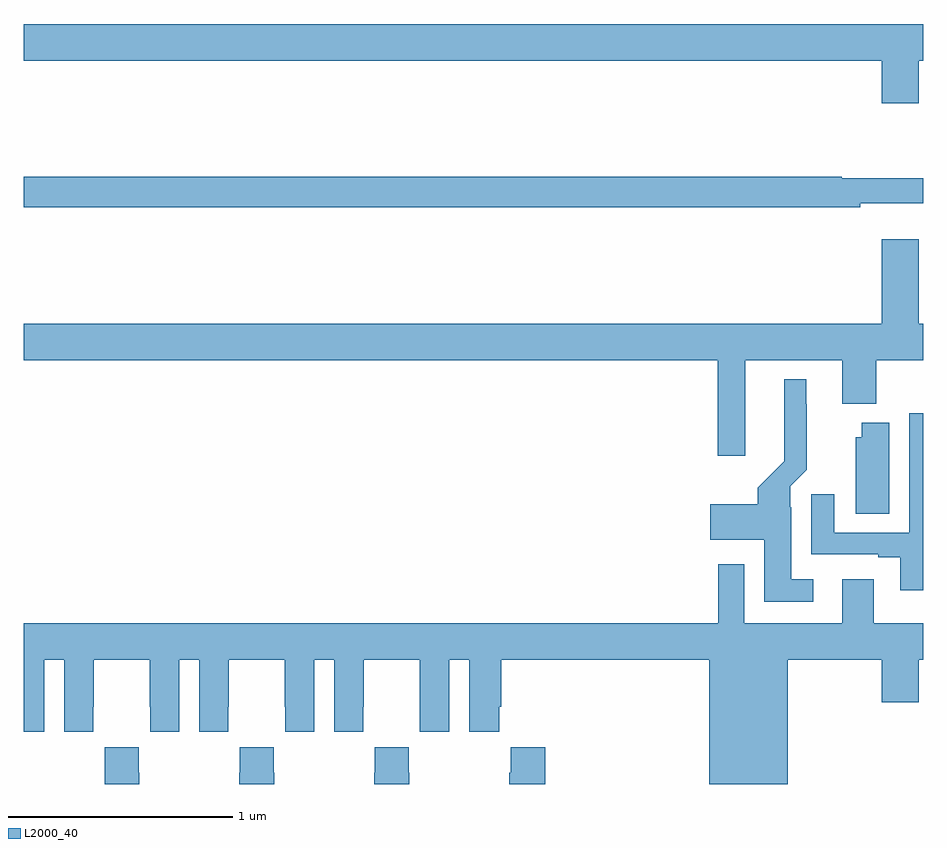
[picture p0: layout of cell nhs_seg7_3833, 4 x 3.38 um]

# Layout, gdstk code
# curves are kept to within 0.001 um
import gdstk
lib = gdstk.Library(unit=1e-6, precision=1e-09)
def P(c, l, *ps):  # polygons
    for p in ps: c.add(gdstk.Polygon(p, *l))
L2000_40 = (2000, 40)

nhs_seg7_3833 = lib.new_cell('nhs_seg7_3833')
P(nhs_seg7_3833, L2000_40, [(356.98,1067.216),(357,1067.216),(357,1067.38),(353,1067.38),(353,1067.216),(356.816,1067.216),(356.816,1067.028),(356.98,1067.028)],
  [(356.72,1066.583),(357,1066.583),(357,1066.693),(356.638,1066.693),(356.638,1066.7),(353,1066.7),(353,1066.564),(356.72,1066.564)],
  [(353,1065.884),(356.087,1065.884),(356.087,1065.459),(356.209,1065.459),(356.209,1065.884),(356.639,1065.884),(356.639,1065.692),(356.792,1065.692),(356.792,1065.884),(357,1065.884),(357,1066.048),(356.98,1066.048),(356.98,1066.423),(356.816,1066.423),(356.816,1066.048),(353,1066.048)],
  [(356.512,1064.911),(356.413,1064.911),(356.413,1065.23),(356.409,1065.23),(356.409,1065.324),(356.483,1065.398),(356.483,1065.689),(356.479,1065.689),(356.479,1065.799),(356.381,1065.799),(356.382,1065.436),(356.264,1065.318),(356.264,1065.244),(356.052,1065.244),(356.052,1065.086),(356.294,1065.086),(356.294,1064.81),(356.512,1064.81)],
  [(357,1065.649),(356.939,1065.649),(356.939,1065.117),(356.605,1065.117),(356.605,1065.289),(356.501,1065.289),(356.501,1065.021),(356.801,1065.021),(356.801,1065.009),(356.897,1065.009),(356.897,1064.862),(357,1064.862)],
  [(356.848,1065.607),(356.726,1065.607),(356.726,1065.543),(356.699,1065.543),(356.699,1065.202),(356.848,1065.202)],
  [(356.398,1064.552),(356.816,1064.552),(356.816,1064.364),(356.98,1064.364),(356.98,1064.552),(357,1064.552),(357,1064.716),(356.779,1064.716),(356.779,1064.911),(356.639,1064.911),(356.639,1064.716),(356.205,1064.716),(356.205,1064.977),(356.089,1064.977),(356.089,1064.716),(353,1064.716),(353,1064.232),(353.092,1064.232),(353.092,1064.552),(353.18,1064.552),(353.18,1064.232),(353.31,1064.232),(353.31,1064.344),(353.311,1064.344),(353.311,1064.552),(353.561,1064.552),(353.561,1064.344),(353.562,1064.344),(353.562,1064.232),(353.692,1064.232),(353.692,1064.552),(353.78,1064.552),(353.78,1064.232),(353.91,1064.232),(353.91,1064.344),(353.911,1064.344),(353.911,1064.552),(354.161,1064.552),(354.161,1064.344),(354.162,1064.344),(354.162,1064.232),(354.292,1064.232),(354.292,1064.552),(354.38,1064.552),(354.38,1064.232),(354.51,1064.232),(354.51,1064.344),(354.511,1064.344),(354.511,1064.552),(354.761,1064.552),(354.761,1064.344),(354.762,1064.344),(354.762,1064.232),(354.892,1064.232),(354.892,1064.552),(354.98,1064.552),(354.98,1064.232),(355.114,1064.232),(355.114,1064.344),(355.124,1064.344),(355.124,1064.552),(356.048,1064.552),(356.048,1064),(356.398,1064)],
  [(353.514,1064.051),(353.511,1064.051),(353.511,1064.164),(353.361,1064.164),(353.361,1064.051),(353.359,1064.051),(353.359,1064),(353.514,1064)],
  [(354.114,1064.051),(354.111,1064.051),(354.111,1064.164),(353.961,1064.164),(353.961,1064.051),(353.959,1064.051),(353.959,1064),(354.114,1064)],
  [(354.714,1064.051),(354.711,1064.051),(354.711,1064.164),(354.561,1064.164),(354.561,1064.051),(354.559,1064.051),(354.559,1064),(354.714,1064)],
  [(355.319,1064.164),(355.165,1064.164),(355.165,1064.051),(355.159,1064.051),(355.159,1064),(355.319,1064)])

lib.write_gds('nhs_seg7_3833.gds')
